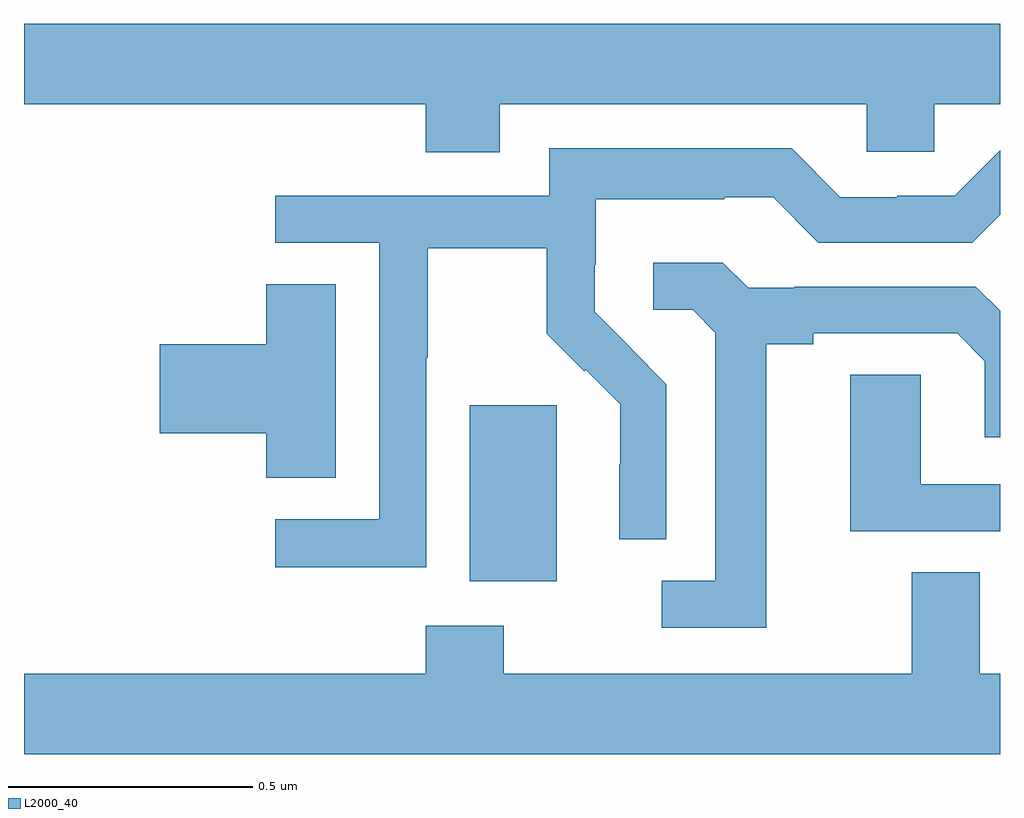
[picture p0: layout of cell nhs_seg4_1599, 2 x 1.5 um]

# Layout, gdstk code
import gdstk
lib = gdstk.Library(unit=1e-6, precision=1e-09)
def R(c, l, rs):  # rectangles x0, y0, x1, y1
    for r in rs: c.add(gdstk.rectangle(r[:2], r[2:], *l))
def P(c, l, *ps):  # polygons
    for p in ps: c.add(gdstk.Polygon(p, *l))
L2000_40 = (2000, 40)

nhs_seg4_1599 = lib.new_cell('nhs_seg4_1599')
R(nhs_seg4_1599, L2000_40, [(130.913,798.506,131.092,798.867)])
P(nhs_seg4_1599, L2000_40, [(130.975,799.484),(131.727,799.484),(131.727,799.386),(131.865,799.386),(131.865,799.484),(132,799.484),(132,799.648),(130,799.648),(130,799.484),(130.823,799.484),(130.823,799.385),(130.975,799.385)],
  [(130.824,798.964),(130.827,798.964),(130.827,799.188),(131.071,799.188),(131.071,799.013),(131.148,798.936),(131.151,798.939),(131.222,798.869),(131.222,798.746),(131.22,798.746),(131.22,798.592),(131.316,798.592),(131.316,798.91),(131.243,798.983),(131.244,798.984),(131.17,799.058),(131.17,799.155),(131.172,799.155),(131.172,799.289),(131.435,799.289),(131.435,799.293),(131.535,799.293),(131.628,799.2),(131.943,799.2),(132,799.257),(132,799.389),(131.907,799.296),(131.789,799.296),(131.789,799.293),(131.673,799.293),(131.573,799.393),(131.076,799.393),(131.076,799.296),(130.515,799.296),(130.515,799.2),(130.728,799.2),(130.728,798.633),(130.515,798.633),(130.515,798.535),(130.824,798.535)],
  [(131.521,798.992),(131.617,798.992),(131.617,799.014),(131.912,799.014),(131.969,798.957),(131.969,798.801),(132,798.801),(132,799.06),(131.95,799.11),(131.578,799.11),(131.578,799.107),(131.484,799.107),(131.432,799.159),(131.289,799.159),(131.289,799.062),(131.37,799.062),(131.417,799.015),(131.417,798.507),(131.307,798.507),(131.307,798.411),(131.521,798.411)],
  [(130.639,799.115),(130.496,799.115),(130.496,798.992),(130.278,798.992),(130.278,798.809),(130.496,798.809),(130.496,798.718),(130.639,798.718)],
  [(132,798.705),(131.838,798.705),(131.838,798.929),(131.693,798.929),(131.693,798.609),(132,798.609)],
  [(132,798.316),(131.959,798.316),(131.959,798.524),(131.819,798.524),(131.819,798.316),(130.983,798.316),(130.983,798.415),(130.823,798.415),(130.823,798.316),(130,798.316),(130,798.152),(132,798.152)])

lib.write_gds('nhs_seg4_1599.gds')
